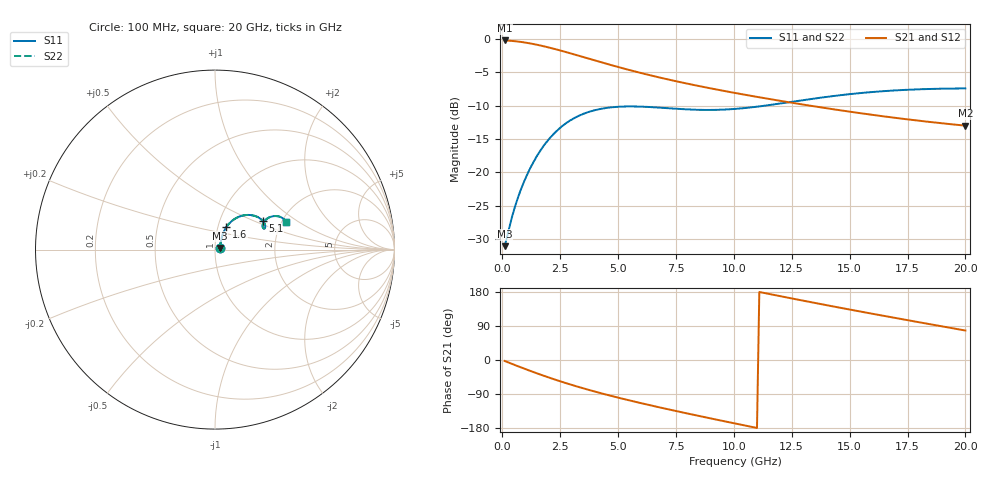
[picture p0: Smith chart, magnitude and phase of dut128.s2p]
! Touchstone file exported from HFSS 2024.1.0
!  File:  C:/UserFiles/LocalFiles/RDL_TSV_Batchsim/temp_RDL_TSV_128_1779426614.aedt
!  Generated:  01:28:01 PM May 22, 2026
!  Design:  RDL_TSV
!  Project:  temp_RDL_TSV_128_1779426614
!  Setup:  Setup1
!  Solution:  Sweep
! Variables:
!  dtsv = 10.11um
!  hbump = 3um
!  htsv = 75.21um
!  ldown = 551.24um
!  lrdl = 642.74um
!  p = 40
!  p1 = 57.46um
!  rhole = 10um
!  subl = 4224.68um
!  t = 450um
!  tdown = 2.11um
!  trdl = 4.5um
!  viad = 10um
!  wdown = 19.6um
!  wrdl = 16.36um
!  xbump = 18um
# GHz S MA R 50.000000
! Terminal data exported
! Port[1] = TM1_1_T1
! Port[2] = TM1_4_T1
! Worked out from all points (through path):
!   200 points, 100 MHz to 20 GHz, reference 50 ohm
!   highest |S21| = -0.24 dB at 100 MHz (marker M1); lowest = -13.0 dB at 20 GHz (marker M2)
!   group delay of S21, straight-line fit = 37 ps
!   lowest |S11| = -31.1 dB at 100 MHz (marker M3), VSWR 1.06, Z = 52.7 + j0.93 ohm
!   |S11| at or under -10 dB: start of sweep to 11.36 GHz
!   |S22| runs from -31.1 to -7.4 dB; largest |S21 - S12| = 7.6e-15
!   S11 on the Smith chart (normalised r, x): 100 MHz: 1.05, +0.02; 1.6 GHz: 1.10, +0.28; 5.1 GHz: 1.61, +0.57; 20 GHz: 2.12, +0.79
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0.1  0.028 18.3  0.9732 -2.5  0.9732 -2.5  0.028 18.3
! Gamma 0 0 0 0
! Port Impedance 50 0 50 0
0.5  0.0519 52.4  0.9626 -12.2  0.9626 -12.2  0.0519 52.4
0.8  0.07411 60.2  0.9492 -19.4  0.9492 -19.4  0.07412 60.3
1.2  0.1069 63.7  0.9252 -28.6  0.9252 -28.6  0.1069 63.8
1.6  0.1416 63.2  0.8959 -37.5  0.8959 -37.5  0.1417 63.2
2  0.1762 60.4  0.863 -46.0  0.863 -46.0  0.1762 60.5
2.5  0.2158 55.5  0.8191 -56.2  0.8191 -56.2  0.2159 55.5
3  0.2489 50.0  0.7744 -65.8  0.7744 -65.8  0.249 50.0
3.5  0.2744 44.6  0.7309 -74.8  0.7309 -74.8  0.2746 44.6
4.3  0.3001 36.9  0.6661 -88.3  0.6661 -88.3  0.3002 36.9
5.1  0.3107 30.8  0.6092 -100.8  0.6092 -100.8  0.3109 30.8
5.9  0.3112 26.5  0.5601 -112.6  0.5601 -112.6  0.3114 26.5
6.8  0.3054 23.8  0.5132 -125.2  0.5132 -125.2  0.3056 23.8
7.6  0.2989 23.1  0.4776 -135.9  0.4776 -135.9  0.2991 23.1
8.4  0.2944 23.7  0.4466 -146.5  0.4466 -146.5  0.2945 23.7
10.1  0.2992 27.3  0.3921 -168.1  0.3921 -168.1  0.2994 27.4
11.8  0.3241 30.3  0.3482 170.9  0.3482 170.9  0.3244 30.3
13.4  0.3559 30.6  0.3138 151.7  0.3138 151.7  0.3562 30.7
15  0.3855 29.0  0.285 133.2  0.285 133.2  0.3858 29.0
16.7  0.4085 26.2  0.2597 114.0  0.2597 114.0  0.4088 26.3
18.3  0.4208 23.5  0.2404 96.3  0.2404 96.3  0.4211 23.6
20  0.4253 21.1  0.2239 77.8  0.2239 77.8  0.4256 21.1
